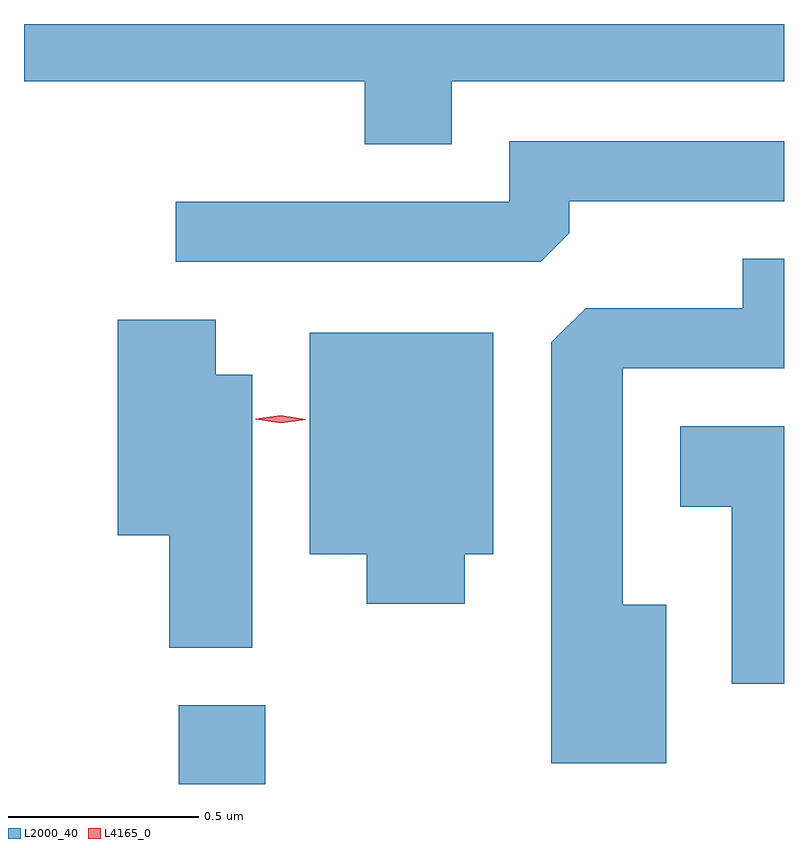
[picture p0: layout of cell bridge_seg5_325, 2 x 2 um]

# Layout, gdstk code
import gdstk
lib = gdstk.Library(unit=1e-6, precision=1e-09)
def R(c, l, rs):  # rectangles x0, y0, x1, y1
    for r in rs: c.add(gdstk.rectangle(r[:2], r[2:], *l))
def P(c, l, *ps):  # polygons
    for p in ps: c.add(gdstk.Polygon(p, *l))
L2000_40 = (2000, 40)
L4165_0 = (4165, 0)

bridge_seg5_325 = lib.new_cell('bridge_seg5_325')
R(bridge_seg5_325, L2000_40, [(700.021,1483.807,700.249,1484.014)])
P(bridge_seg5_325, L2000_40, [(700.739,1485.656),(701.614,1485.656),(701.614,1485.807),(699.614,1485.807),(699.614,1485.656),(700.511,1485.656),(700.511,1485.491),(700.739,1485.491)],
  [(701.049,1485.257),(701.049,1485.341),(701.614,1485.341),(701.614,1485.499),(700.891,1485.499),(700.891,1485.339),(700.013,1485.339),(700.013,1485.181),(700.974,1485.181)],
  [(701.304,1484.279),(701.189,1484.279),(701.189,1484.901),(701.614,1484.901),(701.614,1485.189),(701.506,1485.189),(701.506,1485.059),(701.092,1485.059),(701.001,1484.969),(701.001,1483.861),(701.304,1483.861)],
  [(700.214,1484.884),(700.119,1484.884),(700.119,1485.029),(699.861,1485.029),(699.861,1484.461),(699.996,1484.461),(699.996,1484.166),(700.214,1484.166)],
  [(700.774,1484.411),(700.849,1484.411),(700.849,1484.994),(700.366,1484.994),(700.366,1484.411),(700.516,1484.411),(700.516,1484.281),(700.774,1484.281)],
  [(701.614,1484.749),(701.341,1484.749),(701.341,1484.536),(701.476,1484.536),(701.476,1484.071),(701.614,1484.071)])
P(bridge_seg5_325, L4165_0, [(700.289,1484.757),(700.224,1484.767),(700.223,1484.768),(700.224,1484.768),(700.289,1484.777),(700.355,1484.767),(700.355,1484.767),(700.355,1484.766)])

lib.write_gds('bridge_seg5_325.gds')
